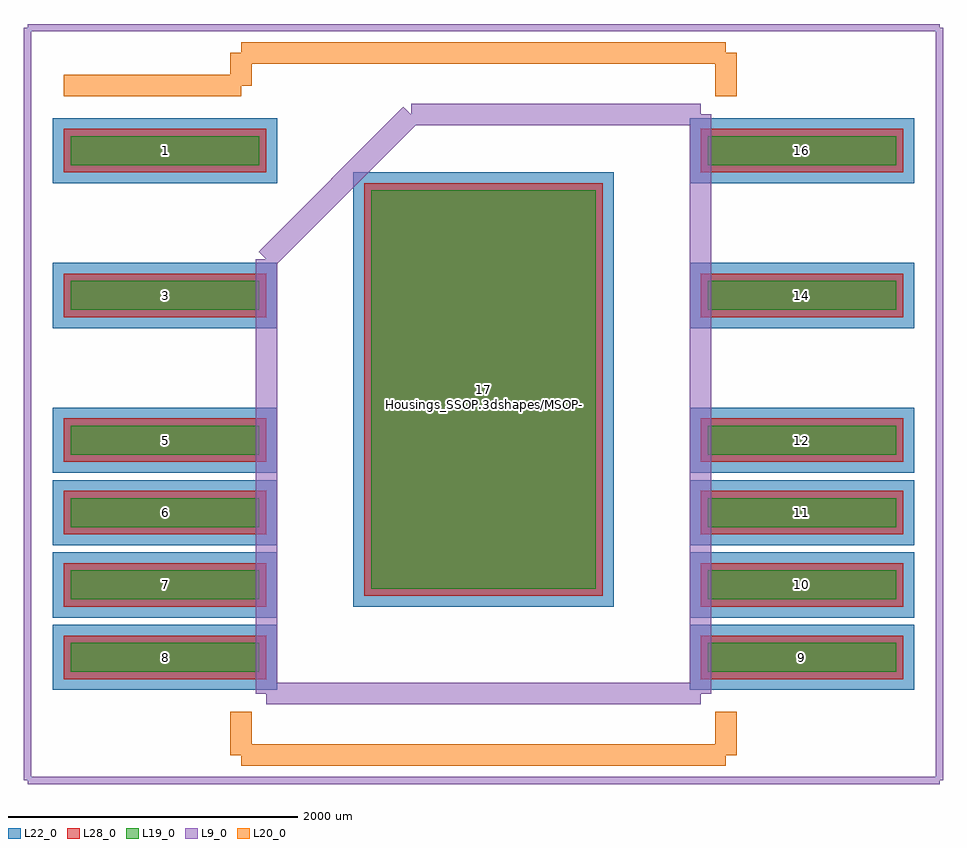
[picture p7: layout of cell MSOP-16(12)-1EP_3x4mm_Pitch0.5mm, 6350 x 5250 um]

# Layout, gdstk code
import gdstk
lib = gdstk.Library(unit=1e-6, precision=1e-09)
def R(c, l, rs):  # rectangles x0, y0, x1, y1
    for r in rs: c.add(gdstk.rectangle(r[:2], r[2:], *l))
def A(c, l, x, y, w, h, nx, ny, dx, dy):  # array of equal rectangles
    R(c, l, [(x+i*dx, y+j*dy, x+i*dx+w, y+j*dy+h) for i in range(nx) for j in range(ny)])
L9_0 = (9, 0)
L19_0 = (19, 0)
L20_0 = (20, 0)
L22_0 = (22, 0)
L28_0 = (28, 0)

msop_16_12__1ep_3x4mm_pi = lib.new_cell('MSOP-16(12)-1EP_3x4mm_Pitch0.5mm')
A(msop_16_12__1ep_3x4mm_pi, L19_0, -2850, -1850, 1300, 200, 1, 4, 0, 500)
A(msop_16_12__1ep_3x4mm_pi, L19_0, 1550, -1850, 1300, 200, 1, 4, 0, 500)
R(msop_16_12__1ep_3x4mm_pi, L19_0, [(-775,-1275,775,1475), (-2850,650,-1550,850), (1550,650,2850,850), (-2850,1650,-1550,1850), (1550,1650,2850,1850)])
A(msop_16_12__1ep_3x4mm_pi, L22_0, -2975, -1975, 1550, 450, 1, 4, 0, 500)
A(msop_16_12__1ep_3x4mm_pi, L22_0, 1425, -1975, 1550, 450, 1, 4, 0, 500)
R(msop_16_12__1ep_3x4mm_pi, L22_0, [(-900,-1400,900,1600), (-2975,525,-1425,975), (1425,525,2975,975), (-2975,1525,-1425,1975), (1425,1525,2975,1975)])
A(msop_16_12__1ep_3x4mm_pi, L28_0, -2900, -1900, 1400, 300, 1, 4, 0, 500)
A(msop_16_12__1ep_3x4mm_pi, L28_0, 1500, -1900, 1400, 300, 1, 4, 0, 500)
R(msop_16_12__1ep_3x4mm_pi, L28_0, [(-825,-1325,825,1525), (-2900,600,-1500,900), (1500,600,2900,900), (-2900,1600,-1500,1900), (1500,1600,2900,1900)])
msop_16_12__1ep_3x4mm_pi.add(gdstk.FlexPath([(-1675,2200),(-2900,2200)], 149.998, ends="flush", simple_path=True, layer=20, datatype=0))  # L20_0
msop_16_12__1ep_3x4mm_pi.add(gdstk.FlexPath([(-1675,-2425),(1675,-2425)], 149.998, ends="flush", simple_path=True, layer=20, datatype=0))  # L20_0
msop_16_12__1ep_3x4mm_pi.add(gdstk.FlexPath([(-1675,2425),(1675,2425)], 149.998, ends="flush", simple_path=True, layer=20, datatype=0))  # L20_0
msop_16_12__1ep_3x4mm_pi.add(gdstk.FlexPath([(-1675,-2425),(-1675,-2125)], 149.998, ends="flush", simple_path=True, layer=20, datatype=0))  # L20_0
msop_16_12__1ep_3x4mm_pi.add(gdstk.FlexPath([(1675,-2425),(1675,-2125)], 149.998, ends="flush", simple_path=True, layer=20, datatype=0))  # L20_0
msop_16_12__1ep_3x4mm_pi.add(gdstk.FlexPath([(1675,2425),(1675,2125)], 149.998, ends="flush", simple_path=True, layer=20, datatype=0))  # L20_0
msop_16_12__1ep_3x4mm_pi.add(gdstk.FlexPath([(-1675,2425),(-1675,2200)], 149.998, ends="flush", simple_path=True, layer=20, datatype=0))  # L20_0
msop_16_12__1ep_3x4mm_pi.add(gdstk.FlexPath([(-3150,-2600),(3150,-2600)], 50, ends="flush", simple_path=True, layer=9, datatype=0))  # L9_0
msop_16_12__1ep_3x4mm_pi.add(gdstk.FlexPath([(-3150,2600),(3150,2600)], 50, ends="flush", simple_path=True, layer=9, datatype=0))  # L9_0
msop_16_12__1ep_3x4mm_pi.add(gdstk.FlexPath([(3150,2600),(3150,-2600)], 50, ends="flush", simple_path=True, layer=9, datatype=0))  # L9_0
msop_16_12__1ep_3x4mm_pi.add(gdstk.FlexPath([(-3150,2600),(-3150,-2600)], 50, ends="flush", simple_path=True, layer=9, datatype=0))  # L9_0
msop_16_12__1ep_3x4mm_pi.add(gdstk.FlexPath([(-1500,1000),(-500,2000)], 149.998, ends="flush", simple_path=True, layer=9, datatype=0))  # L9_0
msop_16_12__1ep_3x4mm_pi.add(gdstk.FlexPath([(-1500,-2000),(-1500,1000)], 149.998, ends="flush", simple_path=True, layer=9, datatype=0))  # L9_0
msop_16_12__1ep_3x4mm_pi.add(gdstk.FlexPath([(1500,-2000),(-1500,-2000)], 149.998, ends="flush", simple_path=True, layer=9, datatype=0))  # L9_0
msop_16_12__1ep_3x4mm_pi.add(gdstk.FlexPath([(1500,2000),(1500,-2000)], 149.998, ends="flush", simple_path=True, layer=9, datatype=0))  # L9_0
msop_16_12__1ep_3x4mm_pi.add(gdstk.FlexPath([(-500,2000),(1500,2000)], 149.998, ends="flush", simple_path=True, layer=9, datatype=0))  # L9_0
msop_16_12__1ep_3x4mm_pi.add(gdstk.Label('Housings_SSOP.3dshapes/MSOP-16(12)_3x4mm_Pitch0.5mm.wrl', (0,0), layer=12, texttype=0))
msop_16_12__1ep_3x4mm_pi.add(gdstk.Label('17', (0,100), layer=28, texttype=0))
msop_16_12__1ep_3x4mm_pi.add(gdstk.Label('9', (2200,-1750), layer=28, texttype=0))
msop_16_12__1ep_3x4mm_pi.add(gdstk.Label('10', (2200,-1250), layer=28, texttype=0))
msop_16_12__1ep_3x4mm_pi.add(gdstk.Label('11', (2200,-750), layer=28, texttype=0))
msop_16_12__1ep_3x4mm_pi.add(gdstk.Label('8', (-2200,-1750), layer=28, texttype=0))
msop_16_12__1ep_3x4mm_pi.add(gdstk.Label('7', (-2200,-1250), layer=28, texttype=0))
msop_16_12__1ep_3x4mm_pi.add(gdstk.Label('6', (-2200,-750), layer=28, texttype=0))
msop_16_12__1ep_3x4mm_pi.add(gdstk.Label('16', (2200,1750), layer=28, texttype=0))
msop_16_12__1ep_3x4mm_pi.add(gdstk.Label('14', (2200,750), layer=28, texttype=0))
msop_16_12__1ep_3x4mm_pi.add(gdstk.Label('12', (2200,-250), layer=28, texttype=0))
msop_16_12__1ep_3x4mm_pi.add(gdstk.Label('5', (-2200,-250), layer=28, texttype=0))
msop_16_12__1ep_3x4mm_pi.add(gdstk.Label('3', (-2200,750), layer=28, texttype=0))
msop_16_12__1ep_3x4mm_pi.add(gdstk.Label('1', (-2200,1750), layer=28, texttype=0))
msop_16_12__1ep_3x4mm_pi.add(gdstk.Label('type', (0,-3500), layer=9, texttype=0))
msop_16_12__1ep_3x4mm_pi.add(gdstk.Label('devicename', (0,3350), layer=9, texttype=0))

lib.write_gds('MSOP-16_12_-1EP_3x4mm_Pitch0.5mm.gds')
